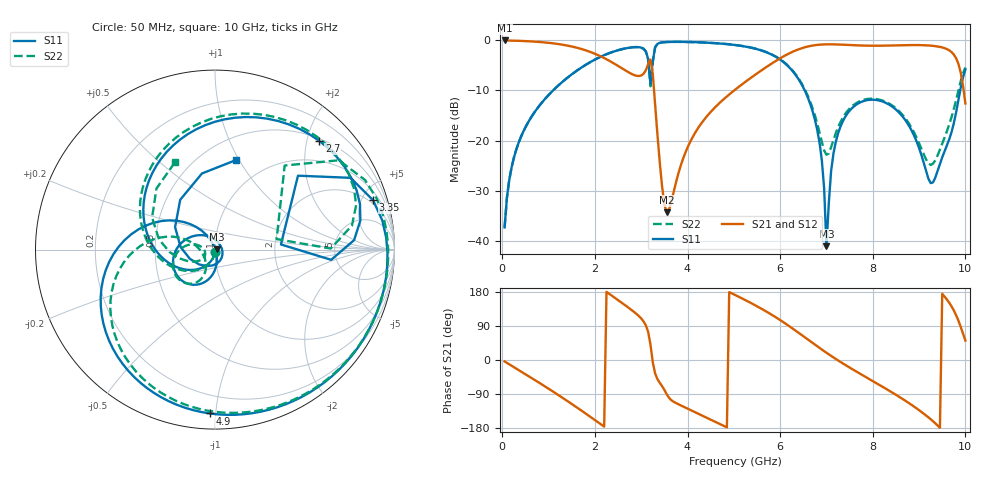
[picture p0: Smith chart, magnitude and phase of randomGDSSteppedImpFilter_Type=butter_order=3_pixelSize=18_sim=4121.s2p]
! freq	dB(S11)	phase(S11)	dB(S12)	phase(S12)
!  dB(S21)	phase(S21)	dB(S22)	phase(S22)
!S-par simulation data
#  GHz  S  DB  R 50
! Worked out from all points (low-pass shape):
!   200 points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, 50 MHz to 10 GHz, reference 50 ohm
!   highest |S21| = -0.01 dB at 50 MHz (marker M1); lowest = -34.3 dB at 3.55 GHz (marker M2)
!   |S21| within 3 dB of the highest: start of sweep to 2.085 GHz; 6.109 GHz to 9.763 GHz (3.654 GHz wide, 46 % of centre)
!   lowest |S11| = -41.1 dB at 7 GHz (marker M3), VSWR 1.02, Z = 50.9 + j0.172 ohm
!   |S11| at or under -10 dB: start of sweep to 1.095 GHz; 6.531 GHz to 9.888 GHz (3.357 GHz wide, 40.9 % of centre)
!   |S22| runs from -37.3 to -0.3 dB; largest |S21 - S12| = 0
!   S11 on the Smith chart (normalised r, x): 50 MHz: 1.00, -0.03; 2.7 GHz: 0.54, +2.23; 3.35 GHz: 1.65, +6.13; 4.9 GHz: 0.09, -0.96; 10 GHz: 0.72, +0.97
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0.05  -37.34 -92.3  -0.01 -3.8  -0.01 -3.8  -37.34 -92.1
0.3  -21.85 -113.1  -0.06 -22.5  -0.06 -22.5  -21.85 -112.0
0.95  -11.39 -164.3  -0.43 -71.9  -0.43 -71.9  -11.39 -161.0
1.75  -5.17 129.3  -1.83 -137.0  -1.83 -137.0  -5.17 134.7
2.7  -1.52 46.2  -6.23 140.4  -6.23 140.4  -1.52 52.7
3.05  -1.66 11.3  -6.67 102.0  -6.67 102.0  -1.67 17.6
3.2  -8.67 4.4  -3.81 40.3  -3.81 40.3  -9.16 9.7
3.35  -0.70 17.3  -18.80 -50.4  -18.80 -50.4  -0.71 24.9
3.4  -0.48 9.9  -24.33 -60.1  -24.33 -60.1  -0.49 17.3
3.55  -0.32 -5.5  -34.29 -90.3  -34.29 -90.3  -0.32 1.8
4.9  -0.79 -91.8  -10.79 179.2  -10.79 179.2  -0.77 -84.0
5.05  -0.95 -100.8  -9.67 170.3  -9.67 170.3  -0.93 -92.7
5.9  -3.24 -157.6  -4.13 113.2  -4.13 113.2  -3.20 -146.8
6.7  -14.12 134.0  -1.03 44.9  -1.03 44.9  -13.53 161.4
6.9  -23.91 115.6  -0.82 27.5  -0.82 27.5  -20.26 172.6
7  -41.08 11.1  -0.78 19.1  -0.78 19.1  -22.84 -157.9
7.1  -26.13 -78.1  -0.78 10.8  -0.78 10.8  -21.33 -127.5
7.35  -16.20 -98.9  -0.86 -8.8  -0.86 -8.8  -15.48 -114.2
8.35  -12.80 -173.2  -1.03 -80.6  -1.03 -80.6  -12.59 -167.1
9.4  -26.04 -33.9  -1.21 -172.8  -1.21 -172.8  -22.96 -145.8
9.8  -14.34 175.9  -3.57 118.2  -3.57 118.2  -11.90 -177.0
10  -5.79 76.7  -12.59 51.3  -12.59 51.3  -5.41 114.4
